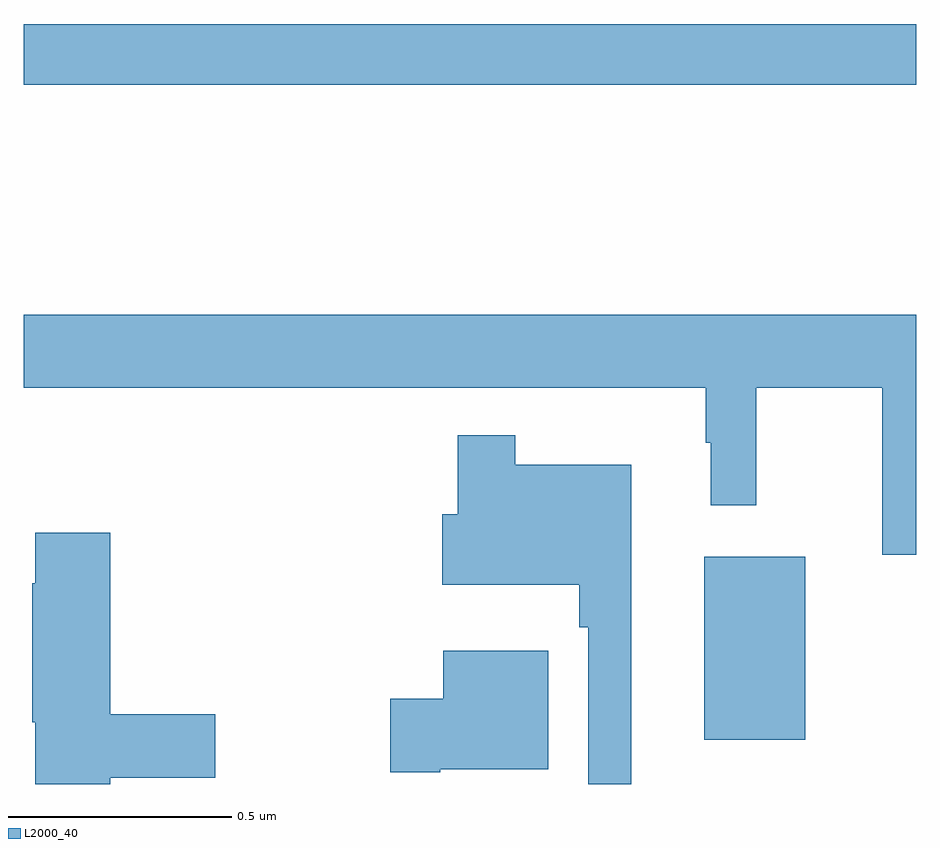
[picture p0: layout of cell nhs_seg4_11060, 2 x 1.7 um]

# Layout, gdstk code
import gdstk
lib = gdstk.Library(unit=1e-6, precision=1e-09)
def R(c, l, rs):  # rectangles x0, y0, x1, y1
    for r in rs: c.add(gdstk.rectangle(r[:2], r[2:], *l))
def P(c, l, *ps):  # polygons
    for p in ps: c.add(gdstk.Polygon(p, *l))
L2000_40 = (2000, 40)

nhs_seg4_11060 = lib.new_cell('nhs_seg4_11060')
R(nhs_seg4_11060, L2000_40, [(248.525,827.999,248.752,828.409), (247,829.468,249,829.604)])
P(nhs_seg4_11060, L2000_40, [(249,828.952),(247,828.952),(247,828.788),(248.529,828.788),(248.529,828.665),(248.54,828.665),(248.54,828.525),(248.642,828.525),(248.642,828.788),(248.924,828.788),(248.924,828.414),(249,828.414)],
  [(248.362,828.616),(248.101,828.616),(248.101,828.682),(247.972,828.682),(247.972,828.505),(247.938,828.505),(247.938,828.347),(248.245,828.347),(248.245,828.251),(248.265,828.251),(248.265,827.9),(248.362,827.9)],
  [(247.193,827.914),(247.429,827.914),(247.429,828.056),(247.193,828.056),(247.193,828.463),(247.025,828.463),(247.025,828.35),(247.018,828.35),(247.018,828.039),(247.025,828.039),(247.025,827.9),(247.193,827.9)],
  [(247.933,827.933),(248.176,827.933),(248.176,828.199),(247.94,828.199),(247.94,828.091),(247.821,828.091),(247.821,827.926),(247.933,827.926)])

lib.write_gds('nhs_seg4_11060.gds')
